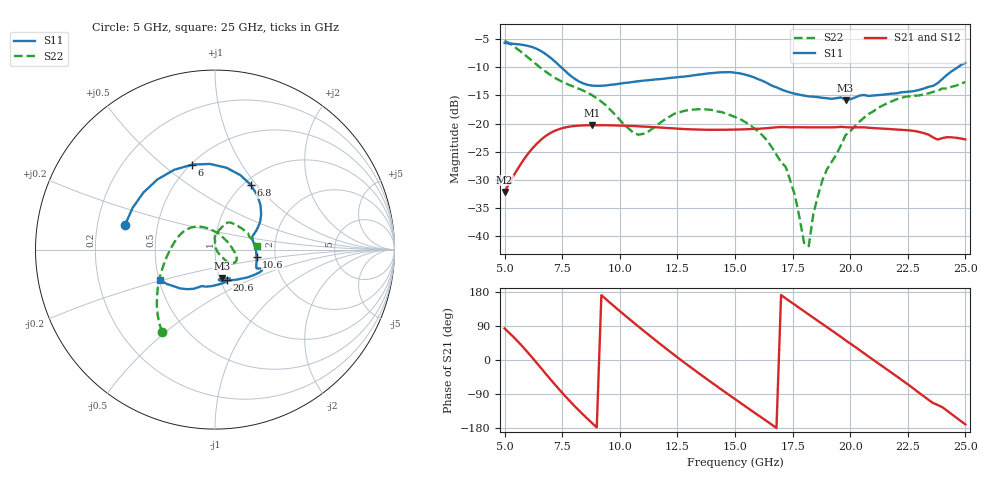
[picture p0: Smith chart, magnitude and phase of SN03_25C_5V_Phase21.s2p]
!File name = SN03_25C_5V_Phase21.s2p
!Date = 2/3/2014
!Time = 2:35 PM
!Test duration(min) = 0.07
!Test = SPars
!MPTS version = 7.120.8
!Comments =
!set_LD1(binary) = 21
!set_LD2(binary) = 524266
!test = SPars
!date_code = 20140203
!file_name = SN03_25C_5V_Phase21.s2p
!VREF(V) = 5.000
!VREF(mA) = 0.002
# GHz  S  DB  R  50
!%	Freq(GHz)  S11(dB)  S11(deg)  S21(dB)  S21(deg)  S12(dB)  S12(deg)  S22(dB)  S22(deg)
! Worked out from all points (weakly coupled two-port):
!   101 points, 5 GHz to 25 GHz, reference 50 ohm
!   highest |S21| = -20.27 dB at 8.8 GHz (marker M1); lowest = -32.1 dB at 5 GHz (marker M2)
!   lowest |S11| = -15.8 dB at 19.8 GHz (marker M3), VSWR 1.39, Z = 51.2 - j16.6 ohm
!   |S11| at or under -10 dB: 7.455 GHz to 24.67 GHz (17.21 GHz wide, 107 % of centre)
!   |S22| runs from -41.7 to -5.2 dB; largest |S21 - S12| = 0.00041
!   S11 on the Smith chart (normalised r, x): 5 GHz: 0.32, +0.12; 6 GHz: 0.51, +0.63; 6.8 GHz: 1.08, +0.94; 10.6 GHz: 1.60, -0.13; 20.6 GHz: 1.07, -0.37; 25 GHz: 0.51, -0.19
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5  -5.68 164.7  -32.11 83.2  -32.12 83.2  -5.24 -122.7
6  -6.19 105.1  -25.41 20.3  -25.43 20.3  -8.20 -145.3
6.8  -7.70 61.1  -22.14 -37.3  -22.17 -37.2  -10.82 -166.6
7.6  -10.53 32.0  -20.70 -93.3  -20.73 -93.2  -12.75 169.9
8.4  -12.84 20.7  -20.31 -143.6  -20.33 -143.5  -14.11 146.6
8.8  -13.25 17.4  -20.27 -166.7  -20.29 -166.6  -14.96 135.9
10.6  -12.58 -9.4  -20.42 98.6  -20.44 98.8  -21.64 62.7
11.8  -12.08 -22.6  -20.70 40.0  -20.71 40.0  -19.70 -2.6
13.2  -11.42 -23.0  -21.02 -24.7  -21.02 -24.8  -17.50 -25.4
15  -10.96 -25.2  -21.05 -103.2  -21.05 -103.2  -18.81 -41.0
16.2  -12.41 -40.0  -20.86 -153.8  -20.87 -153.8  -22.13 -45.9
17.2  -14.22 -61.2  -20.60 162.6  -20.62 162.6  -27.66 -44.7
17.6  -14.69 -69.8  -20.64 145.6  -20.66 145.7  -32.70 -44.7
18  -15.02 -76.8  -20.64 128.5  -20.66 128.6  -41.15 -1.4
18.2  -15.16 -79.6  -20.65 120.1  -20.66 120.1  -41.73 57.2
18.4  -15.21 -81.5  -20.66 111.6  -20.67 111.7  -36.02 78.0
18.8  -15.42 -82.7  -20.66 94.8  -20.67 94.8  -29.94 87.7
19.8  -15.79 -76.6  -20.63 51.9  -20.64 51.9  -22.03 88.8
20.6  -14.91 -68.5  -20.66 17.7  -20.67 17.8  -18.94 77.6
21.8  -14.67 -64.7  -20.98 -33.7  -20.99 -33.7  -16.05 68.1
23.6  -13.29 -110.1  -22.44 -113.6  -22.45 -113.5  -14.36 38.1
25  -9.19 -151.3  -22.80 -170.0  -22.81 -169.9  -12.63 5.2
